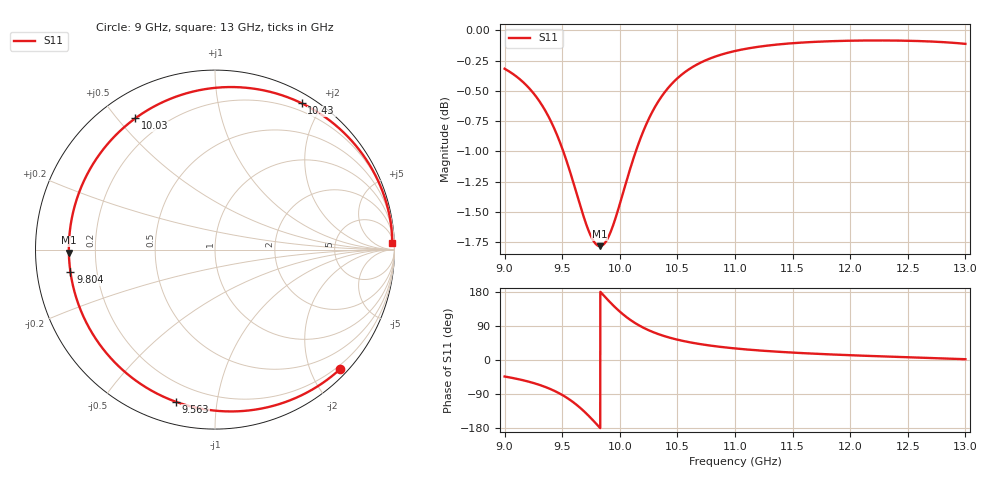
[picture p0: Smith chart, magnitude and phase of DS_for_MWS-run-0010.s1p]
! TOUCHSTONE file generated by CST DESIGN STUDIO
! Date and time: Tue Feb  4 17:36:33 2025
! Project name: C:\Work\MatlabApps\UnitCellOptimizationMatlab\CST\unitcell.cst
! Tree item: Tasks\Sweep1\SPara1\S-Parameters
! Header version: 2024
! Port assignment regex: !\s*Touchstone port\s*([0-9]+)\s*=\s*(CST MWS port|CST DES external port|CST DES block port)\s*(.+)\s* \(\"(.*)\"\)(\s*mode\s*([0-9]+))?.*
! Touchstone port assignment:
! Touchstone port 1 = CST DES external port 1 ("")
# GHz S MA R 50
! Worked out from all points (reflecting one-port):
!   4001 points, 9 GHz to 13 GHz, reference 50 ohm
!   lowest |S11| = -1.8 dB at 9.827 GHz (marker M1), VSWR 9.78, Z = 5.11 - j0.541 ohm
!   phase of S11 starts at -44 deg and turns -314 deg over the sweep
!   S11 on the Smith chart (normalised r, x): 9 GHz: 0.13, -2.50; 9.563 GHz: 0.11, -0.77; 9.804 GHz: 0.10, -0.08; 10.03 GHz: 0.10, +0.56; 10.43 GHz: 0.11, +1.75; 13 GHz: 17, +49
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9  0.9642 -43.6
9.145  0.9535 -52.3
9.277  0.9385 -63.1
9.391  0.9194 -75.8
9.5  0.8939 -92.2
9.563  0.8758 -104.3
9.623  0.857 -117.8
9.68  0.8395 -132.7
9.747  0.8227 -152.7
9.804  0.8152 -171.1
9.827  0.8144 -178.7
9.866  0.8165 168.3
9.906  0.8225 155.4
9.954  0.834 140.7
10  0.8477 127.7
10.025  0.8558 121.2
10.099  0.8794 104.2
10.182  0.9031 88.8
10.3  0.9288 72.3
10.428  0.9478 59.3
10.5  0.9555 53.6
10.602  0.9638 47.0
10.717  0.9706 41.0
11  0.9806 30.6
11.5  0.9879 19.5
12  0.9903 12.6
12.5  0.9902 7.2
13  0.9873 2.1
